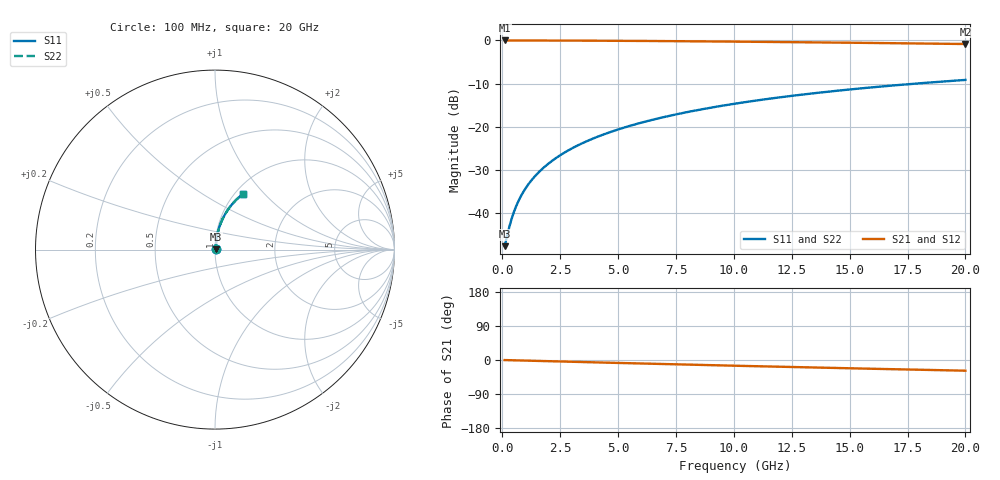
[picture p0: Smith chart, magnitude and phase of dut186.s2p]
! Touchstone file exported from HFSS 2024.1.0
!  File:  C:/UserFiles/LocalFiles/RDL_TSV_Batchsim/temp_RDL_bottom_186_1778698907.aedt
!  Generated:  03:04:26 AM May 14, 2026
!  Design:  RDL_bottom
!  Project:  temp_RDL_bottom_186_1778698907
!  Setup:  Setup1
!  Solution:  Sweep
! Variables:
!  dtsv = 10.80580581um
!  hbump = 3um
!  htsv = 70.01um
!  ldown = 344.1um
!  lrdl = 100um
!  p = 40
!  p1 = 40.9um
!  rhole = 1um
!  t = 450um
!  tdown = 3.22um
!  trdl = 3.915915916um
!  wdown = 10.55um
!  wrdl = 20um
# GHz S MA R 50.000000
! Terminal data exported
! Port[1] = RDL1_T1
! Port[2] = RDL1_T2
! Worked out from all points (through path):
!   200 points, 100 MHz to 20 GHz, reference 50 ohm
!   highest |S21| = -0.03 dB at 100 MHz (marker M1); lowest = -0.9 dB at 20 GHz (marker M2)
!   group delay of S21, straight-line fit = 3.92 ps
!   lowest |S11| = -47.6 dB at 100 MHz (marker M3), VSWR 1.01, Z = 50.4 + j0.194 ohm
!   |S11| at or under -10 dB: start of sweep to 17.88 GHz
!   |S22| runs from -47.6 to -9.2 dB; largest |S21 - S12| = 2.7e-15
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0.1  0.004163 27.6  0.9963 -0.2  0.9963 -0.2  0.004163 27.6
! Gamma 0 0 0 0
! Port Impedance 50 0 50 0
0.3  0.006896 56.6  0.9962 -0.5  0.9962 -0.5  0.006896 56.6
0.4  0.008576 63.2  0.9961 -0.6  0.9961 -0.6  0.008576 63.2
0.5  0.01032 67.4  0.9961 -0.8  0.9961 -0.8  0.01032 67.4
0.6  0.0121 70.4  0.996 -1.0  0.996 -1.0  0.0121 70.4
0.7  0.01389 72.6  0.9959 -1.1  0.9959 -1.1  0.01389 72.6
0.9  0.0175 75.6  0.9957 -1.4  0.9957 -1.4  0.0175 75.6
1.2  0.02296 78.2  0.9954 -1.9  0.9954 -1.9  0.02296 78.2
1.4  0.02662 79.3  0.9952 -2.2  0.9952 -2.2  0.02662 79.3
1.7  0.03213 80.4  0.9948 -2.7  0.9948 -2.7  0.03213 80.4
2.2  0.04133 81.4  0.9941 -3.4  0.9941 -3.4  0.04133 81.4
2.8  0.05242 81.8  0.993 -4.4  0.993 -4.4  0.05242 81.8
3.5  0.06537 81.8  0.9915 -5.5  0.9915 -5.5  0.06537 81.8
4.2  0.07832 81.5  0.9896 -6.5  0.9896 -6.5  0.07832 81.5
5  0.09311 81.0  0.9872 -7.7  0.9872 -7.7  0.09311 81.0
5.9  0.1097 80.2  0.9841 -9.1  0.9841 -9.1  0.1097 80.2
6.8  0.1262 79.3  0.9807 -10.4  0.9807 -10.4  0.1262 79.3
8.3  0.1536 77.6  0.9742 -12.6  0.9742 -12.6  0.1536 77.6
10.1  0.1859 75.4  0.9655 -15.2  0.9655 -15.2  0.1859 75.4
13.4  0.2434 71.3  0.9475 -19.7  0.9475 -19.7  0.2434 71.3
16.7  0.2976 67.2  0.9276 -24.1  0.9276 -24.1  0.2976 67.2
20  0.3483 63.2  0.9064 -28.2  0.9064 -28.2  0.3483 63.2
